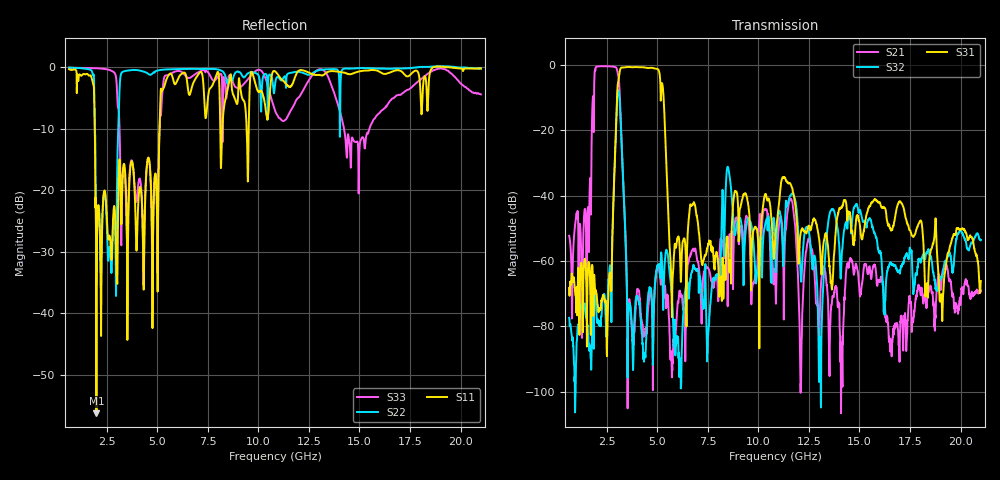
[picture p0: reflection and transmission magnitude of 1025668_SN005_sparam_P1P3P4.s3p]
!Keysight Technologies,N5227B,US58420583,A.13.95.07
!Date: Wednesday, April 06, 2022 15:09:09
!Correction: S11(Full 3 Port(1,2,3))
!S12(Full 3 Port(1,2,3))
!S13(Full 3 Port(1,2,3))
!S21(Full 3 Port(1,2,3))
!S22(Full 3 Port(1,2,3))
!S23(Full 3 Port(1,2,3))
!S31(Full 3 Port(1,2,3))
!S32(Full 3 Port(1,2,3))
!S33(Full 3 Port(1,2,3))
!S3P File: Measurements: <S11,S12,S13>,
!<S21,S22,S23>,
!<S31,S32,S33>:
# Hz S  dB  R 50
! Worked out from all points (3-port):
!   2036 points, 650 MHz to 21 GHz, reference 50 ohm
!   strongest paths, dB at 650 MHz, 5.74 GHz, 10.83 GHz, 15.92 GHz, 21 GHz:
!     S31: -68.2, -72.1, -54.4, -42.0, -66.2
!     S32: -77.4, -71.9, -55.2, -56.1, -53.6
!     S21: -52.3, -92.6, -63.7, -66.0, -69.3
!   lowest |S11| = -56.2 dB at 2 GHz (marker M1), VSWR 1.00, Z = 50 - j0.154 ohm
!   |S11| at or under -10 dB: 1.917 GHz to 5.118 GHz (3.202 GHz wide, 91 % of centre); 8.12 GHz to 8.221 GHz (101.1 MHz wide, 1.24 % of centre); 9.423 GHz to 9.526 GHz (102.8 MHz wide, 1.08 % of centre)
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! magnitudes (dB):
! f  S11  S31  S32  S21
! 650 MHz  -0.3  -68.2  -77.4  -52.3
! 2 GHz  -56.2  -70.1  -75.5  -0.7
! 2.59 GHz  -28.0  -70.8  -65.9  -0.5
! 3.05 GHz  -29.3  -6.4  -8.3  -2.6
! 3.29 GHz  -18.1  -0.9  -31.0  -30.8
! 3.81 GHz  -16.2  -0.8  -93.3  -84.1
! 5.2 GHz  -3.6  -7.8  -57.4  -65.5
! 5.73 GHz  -1.3  -77.1  -70.4  -95.5
! 10.83 GHz  -0.7  -54.4  -55.2  -63.7
! 21 GHz  -0.2  -66.2  -53.6  -69.3
